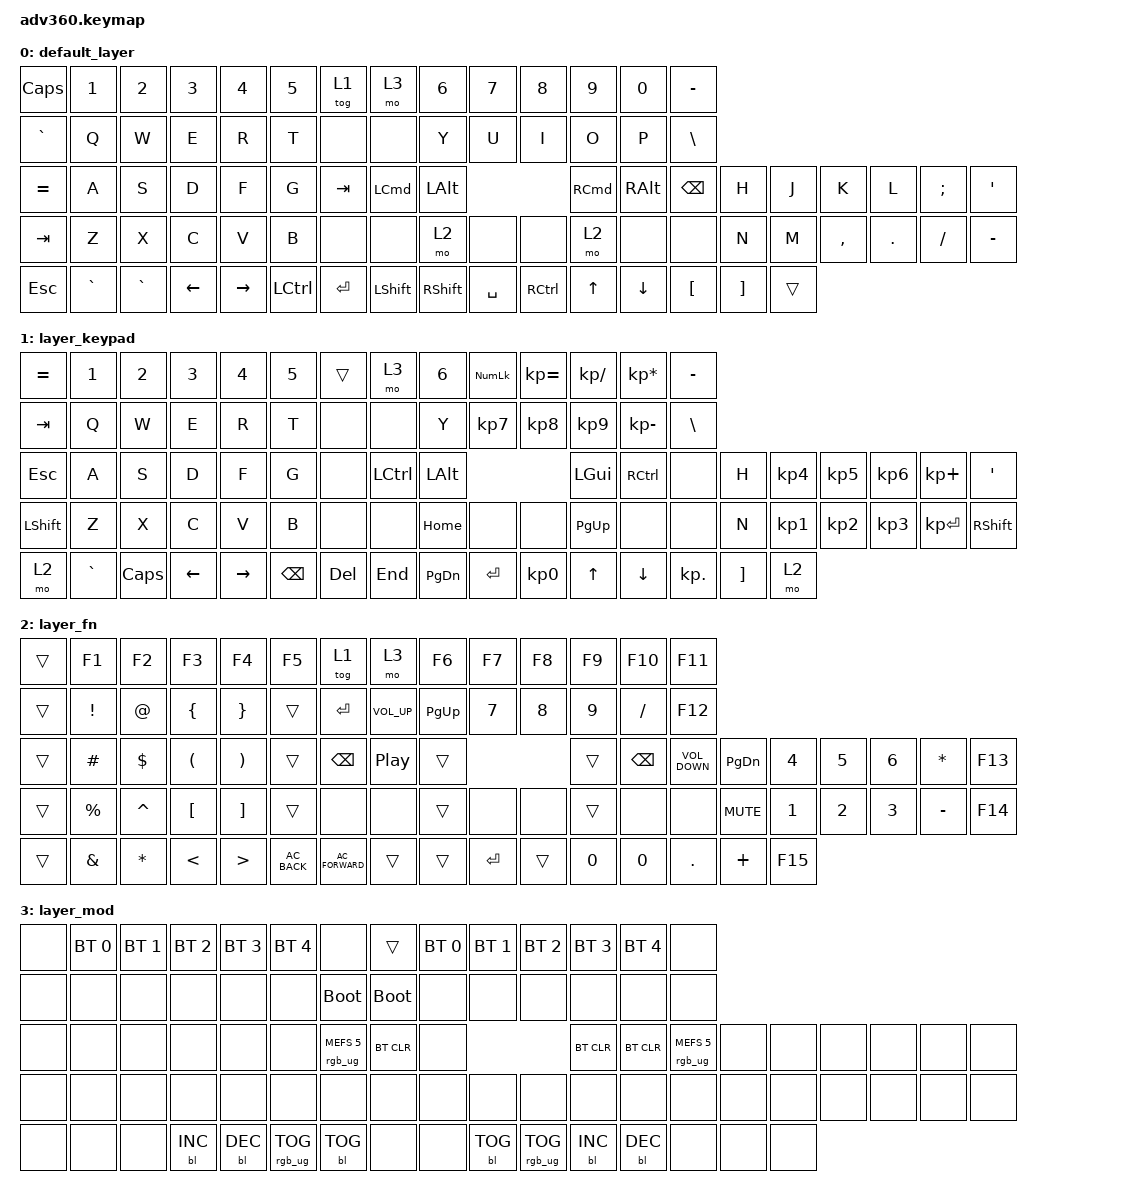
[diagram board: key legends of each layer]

/*
 * Copyright (c) 2020 The ZMK Contributors
 *
 * SPDX-License-Identifier: MIT
 */


/* THIS FILE WAS GENERATED!
 *
 * This file was generated automatically. You may or may not want to
 * edit it directly.
 */

#include <behaviors.dtsi>
#include <dt-bindings/zmk/keys.h>
#include <dt-bindings/zmk/bt.h>
#include <dt-bindings/zmk/rgb.h>
#include <dt-bindings/zmk/backlight.h>

/ {
  behaviors {
    #include "macros.dtsi"

    hm: homerow_mods {
        compatible = "zmk,behavior-hold-tap";
        label = "HOMEROW_MODS";
        #binding-cells = <2>;
        tapping-term-ms = <200>;
        quick_tap_ms = <175>;
        flavor = "tap-preferred";
        bindings = <&kp>, <&kp>;
    };
  };

    keymap {
        compatible = "zmk,keymap";


        default_layer {
            bindings = <
  &kp CAPS     &kp N1     &kp N2    &kp N3     &kp N4     &kp N5               &tog 1             &mo 3           &kp N6     &kp N7             &kp N8             &kp N9         &kp N0      &kp MINUS
 &kp GRAVE      &kp Q      &kp W     &kp E      &kp R      &kp T                &none             &none            &kp Y      &kp U              &kp I              &kp O          &kp P  &kp BACKSLASH
 &kp EQUAL      &kp A      &kp S     &kp D      &kp F      &kp G              &kp TAB  &kp LEFT_COMMAND     &kp LEFT_ALT                                &kp RIGHT_COMMAND  &kp RIGHT_ALT       &kp BSPC     &kp H   &kp J      &kp K    &kp L  &kp SEMI    &kp SQT
   &kp TAB      &kp Z      &kp X     &kp C      &kp V      &kp B                &none             &none            &mo 2      &none              &none              &mo 2          &none          &none     &kp N   &kp M  &kp COMMA  &kp DOT  &kp FSLH  &kp MINUS
   &kp ESC  &kp GRAVE  &kp GRAVE  &kp LEFT  &kp RIGHT  &kp LCTRL            &kp ENTER    &kp LEFT_SHIFT  &kp RIGHT_SHIFT  &kp SPACE  &kp RIGHT_CONTROL             &kp UP       &kp DOWN       &kp LBKT  &kp RBKT  &trans
            >;
        };

        layer_keypad {
            bindings = <
 &kp EQUAL     &kp N1    &kp N2    &kp N3     &kp N4    &kp N5             &trans      &mo 3     &kp N6  &kp KP_NUM  &kp KP_EQUAL  &kp KP_DIVIDE  &kp KP_MULTIPLY   &kp MINUS
   &kp TAB      &kp Q     &kp W     &kp E      &kp R     &kp T              &none      &none      &kp Y   &kp KP_N7     &kp KP_N8      &kp KP_N9     &kp KP_MINUS    &kp BSLH
   &kp ESC      &kp A     &kp S     &kp D      &kp F     &kp G              &none  &kp LCTRL   &kp LALT                                 &kp LGUI        &kp RCTRL       &none     &kp H  &kp KP_N4  &kp KP_N5  &kp KP_N6   &kp KP_PLUS    &kp SQT
 &kp LSHFT      &kp Z     &kp X     &kp C      &kp V     &kp B              &none      &none   &kp HOME       &none         &none      &kp PG_UP            &none       &none     &kp N  &kp KP_N1  &kp KP_N2  &kp KP_N3  &kp KP_ENTER  &kp RSHFT
     &mo 2  &kp GRAVE  &kp CAPS  &kp LEFT  &kp RIGHT  &kp BSPC            &kp DEL    &kp END  &kp PG_DN   &kp ENTER     &kp KP_N0         &kp UP         &kp DOWN  &kp KP_DOT  &kp RBKT      &mo 2
            >;
        };

        layer_fn {
            bindings = <
 &trans           &kp F1       &kp F2            &kp F3             &kp F4         &kp F5                      &tog 1            &mo 3       &kp F6        &kp F7        &kp F8        &kp F9       &kp F10            &kp F11
 &trans  &kp EXCLAMATION  &kp AT_SIGN    &kp LEFT_BRACE    &kp RIGHT_BRACE         &trans                   &kp ENTER  &kp C_VOLUME_UP  &kp PAGE_UP  &kp NUMBER_7  &kp NUMBER_8  &kp NUMBER_9     &kp SLASH            &kp F12
 &trans         &kp HASH   &kp DOLLAR          &kp LPAR           &kp RPAR         &trans                    &kp BSPC         &kp C_PP       &trans                                    &trans      &kp BSPC  &kp C_VOLUME_DOWN  &kp PAGE_DOWN  &kp NUMBER_4  &kp NUMBER_5  &kp NUMBER_6  &kp ASTRK  &kp F13
 &trans      &kp PERCENT    &kp CARET  &kp LEFT_BRACKET  &kp RIGHT_BRACKET         &trans                       &none            &none       &trans         &none         &none        &trans         &none              &none     &kp C_MUTE  &kp NUMBER_1  &kp NUMBER_2  &kp NUMBER_3  &kp MINUS  &kp F14
 &trans         &kp AMPS    &kp ASTRK     &kp LESS_THAN   &kp GREATER_THAN  &kp C_AC_BACK            &kp C_AC_FORWARD           &trans       &trans     &kp ENTER        &trans  &kp NUMBER_0  &kp NUMBER_0            &kp DOT       &kp PLUS       &kp F15
            >;
        };

        layer_mod {
            bindings = <
  &none  &bt BT_SEL 0  &bt BT_SEL 1  &bt BT_SEL 2  &bt BT_SEL 3     &bt BT_SEL 4                             &none       &trans  &bt BT_SEL 0  &bt BT_SEL 1     &bt BT_SEL 2  &bt BT_SEL 3  &bt BT_SEL 4                   &none
  &none         &none         &none         &none         &none            &none                       &bootloader  &bootloader         &none         &none            &none         &none         &none                   &none
  &none         &none         &none         &none         &none            &none            &rgb_ug RGB_MEFS_CMD 5   &bt BT_CLR         &none                                   &bt BT_CLR    &bt BT_CLR  &rgb_ug RGB_MEFS_CMD 5   &none   &none   &none   &none   &none   &none
  &none         &none         &none         &none         &none            &none                             &none        &none         &none         &none            &none         &none         &none                   &none   &none   &none   &none   &none   &none   &none
  &none         &none         &none    &bl BL_INC    &bl BL_DEC  &rgb_ug RGB_TOG                        &bl BL_TOG        &none         &none    &bl BL_TOG  &rgb_ug RGB_TOG    &bl BL_INC    &bl BL_DEC                   &none   &none   &none
            >;
        };

    };
};
